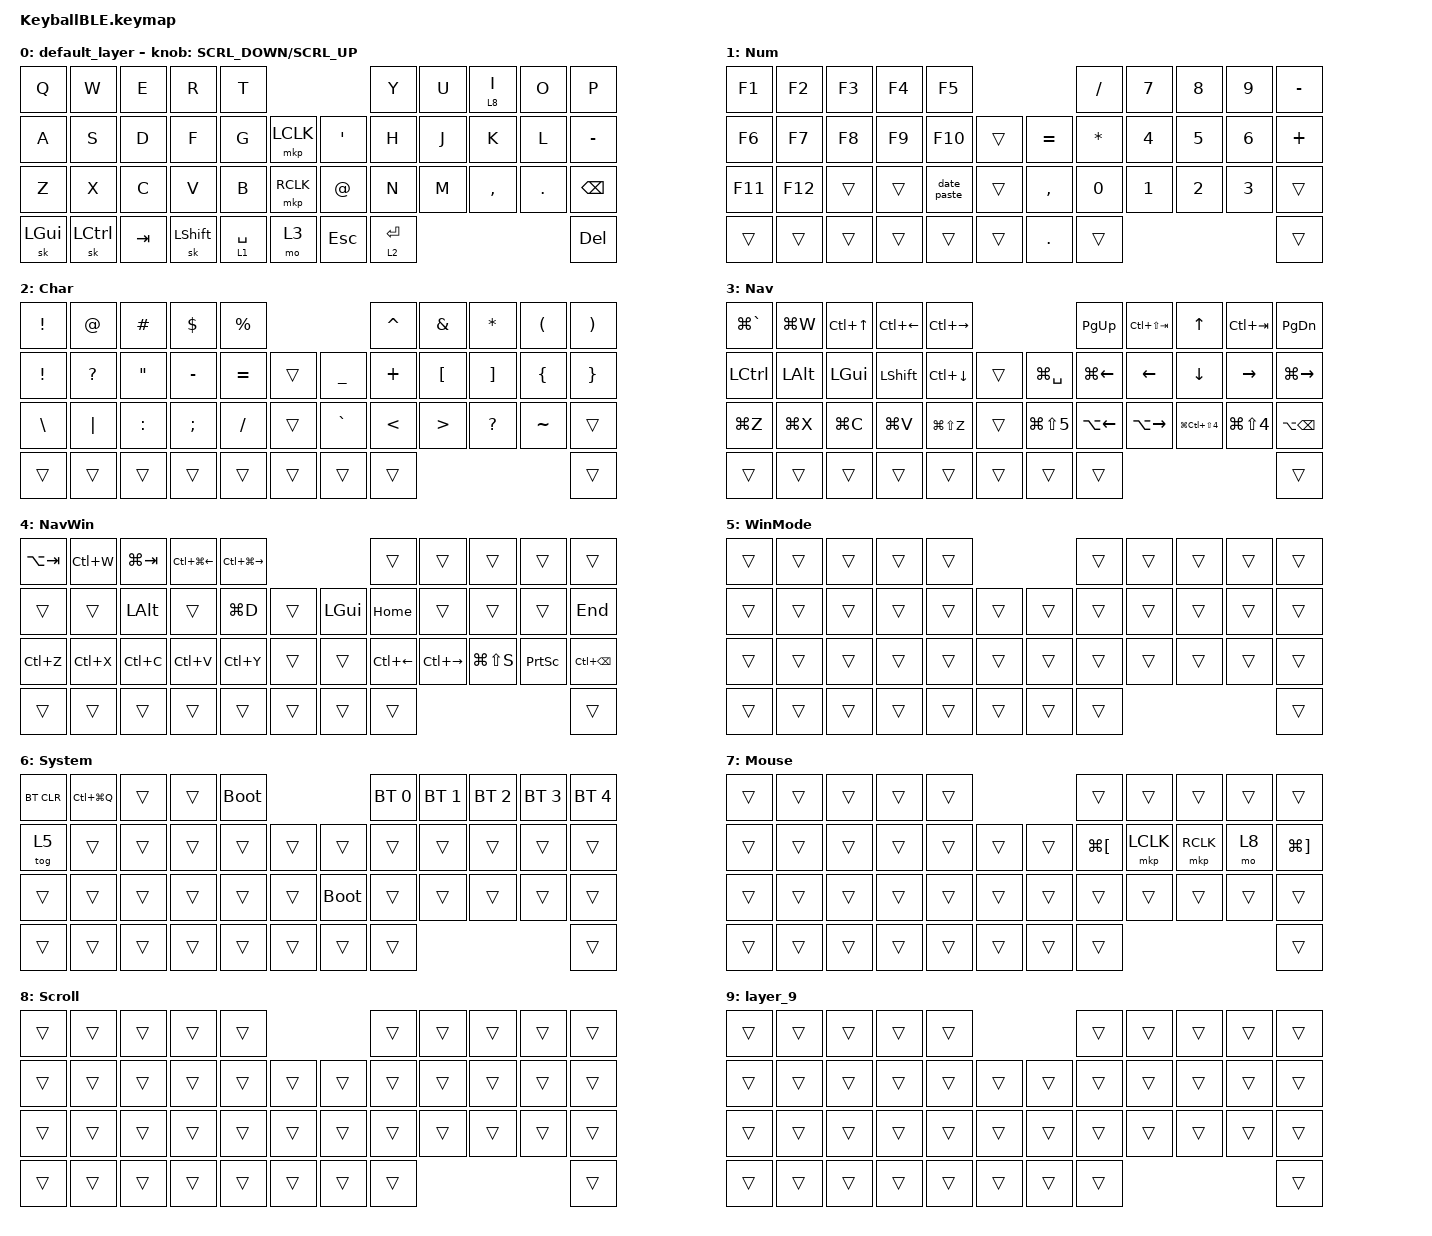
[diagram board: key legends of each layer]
// ホイールのスクロール量。購入元(Dist16384/KeyballBLE)の設定と同じ値（ZMK 標準は 10）。include より前に書く必要がある
#define ZMK_POINTING_DEFAULT_SCRL_VAL 120

#include <behaviors.dtsi>
#include <dt-bindings/zmk/bt.h>
#include <dt-bindings/zmk/keys.h>
#include <dt-bindings/zmk/pointing.h>

/ {
    // 左親指SPACE長押し(1) + 右親指ENTER長押し(2) を同時に押した時だけ 設定レイヤー(6) が出る

    conditional_layers {
        compatible = "zmk,conditional-layers";

        sys_layer {
            if-layers = <1 2>;
            then-layer = <6>;
        };

        // Windowsモード(5)がONの時だけ、Navレイヤーの一部をWindows用ショートカットに差し替える

        win_nav {
            if-layers = <3 5>;
            then-layer = <4>;
        };
    };

    behaviors {
        // 左手のホイール（エンコーダー）: 購入元(Dist16384/KeyballBLE, 2025-03-26)と同じ設定に戻した（2026-10）。
        // 速さを変える時は、ファイル先頭の ZMK_POINTING_DEFAULT_SCRL_VAL を変える
        ROTATE: ROTATE {
            compatible = "zmk,behavior-sensor-rotate-var";
            #sensor-binding-cells = <2>;
            bindings = <&msc>, <&msc>;
            tap-ms = <20>;
        };
    };

    macros {
        // 今日の日付: Mac の「ショートカット」アプリ(⌃⌥⌘F18 で起動)が日付をコピー → 待ってから ⌘V で貼り付け
        // 日付ではなく前にコピーした内容が貼られる時は、600 を大きくする

        date_paste: date_paste {
            compatible = "zmk,behavior-macro";
            #binding-cells = <0>;
            bindings =
                <&macro_wait_time 600>,
                <&kp LC(LA(LG(F18)))>,
                <&macro_wait_time 30>,
                <&kp LG(V)>;
        };
    };

    keymap {
        compatible = "zmk,keymap";

        default_layer {
            bindings = <
&kp Q     &kp W      &kp E    &kp R       &kp T                                  &kp Y        &kp U  &lt 8 I    &kp O    &kp P
&kp A     &kp S      &kp D    &kp F       &kp G        &mkp LCLK      &kp SQT    &kp H        &kp J  &kp K      &kp L    &kp MINUS
&kp Z     &kp X      &kp C    &kp V       &kp B        &mkp RCLK      &kp AT_SIGN &kp N        &kp M  &kp COMMA  &kp DOT  &kp BACKSPACE
&sk LGUI  &sk LCTRL  &kp TAB  &sk LSHIFT  &lt 1 SPACE  &mo 3          &kp ESC    &lt 2 ENTER                             &kp DEL
            >;

            // ホイールは全レイヤー共通でスクロール（他のレイヤーに sensor-bindings が無ければここが使われる）
            sensor-bindings = <&ROTATE SCRL_DOWN SCRL_UP>;
        };

        Num {
            bindings = <
&kp F1   &kp F2   &kp F3  &kp F4  &kp F5                              &kp SLASH  &kp N7  &kp N8  &kp N9  &kp MINUS
&kp F6   &kp F7   &kp F8  &kp F9  &kp F10      &trans      &kp EQUAL  &kp STAR   &kp N4  &kp N5  &kp N6  &kp PLUS
&kp F11  &kp F12  &trans  &trans  &date_paste  &trans      &kp COMMA  &kp N0     &kp N1  &kp N2  &kp N3  &trans
&trans   &trans   &trans  &trans  &trans       &trans      &kp DOT    &trans                             &trans
            >;
        };

        Char {
            bindings = <
&kp EXCL   &kp AT_SIGN  &kp HASH   &kp DOLLAR  &kp PERCENT                         &kp CARET  &kp AMPERSAND  &kp STAR   &kp LPAR  &kp RPAR
&kp EXCL   &kp QMARK    &kp DQT    &kp MINUS   &kp EQUAL    &trans      &kp UNDER  &kp PLUS   &kp LBKT       &kp RBKT   &kp LBRC  &kp RBRC
&kp BSLH   &kp PIPE     &kp COLON  &kp SEMI    &kp SLASH    &trans      &kp GRAVE  &kp LT     &kp GT         &kp QMARK  &kp TILDE    &trans
&trans     &trans       &trans     &trans      &trans       &trans      &trans     &trans                                         &trans
            >;
        };

        Nav {
            bindings = <
&kp LG(GRAVE)  &kp LG(W)  &kp LC(UP)  &kp LC(LEFT)  &kp LC(RIGHT)                              &kp PG_UP     &kp LC(LS(TAB))  &kp UP              &kp LC(TAB)     &kp PG_DN
&kp LCTRL      &kp LALT   &kp LGUI    &kp LSHIFT    &kp LC(DOWN)   &trans      &kp LG(SPACE)   &kp LG(LEFT)  &kp LEFT         &kp DOWN            &kp RIGHT       &kp LG(RIGHT)
&kp LG(Z)      &kp LG(X)  &kp LG(C)   &kp LG(V)     &kp LG(LS(Z))  &trans      &kp LG(LS(N5))  &kp LA(LEFT)  &kp LA(RIGHT)    &kp LG(LC(LS(N4)))  &kp LG(LS(N4))  &kp LA(BSPC)
&trans         &trans     &trans      &trans        &trans         &trans      &trans          &trans                                                             &trans
            >;
        };

        NavWin {
            bindings = <
&kp LA(TAB)  &kp LC(W)  &kp LG(TAB)  &kp LC(LG(LEFT))  &kp LC(LG(RIGHT))                        &trans        &trans         &trans         &trans     &trans
&trans       &trans     &kp LALT     &trans            &kp LG(D)          &trans      &kp LGUI  &kp HOME      &trans         &trans         &trans     &kp END
&kp LC(Z)    &kp LC(X)  &kp LC(C)    &kp LC(V)         &kp LC(Y)          &trans      &trans    &kp LC(LEFT)  &kp LC(RIGHT)  &kp LG(LS(S))  &kp PSCRN  &kp LC(BSPC)
&trans       &trans     &trans       &trans            &trans             &trans      &trans    &trans                                                 &trans
            >;
        };

        WinMode {
            bindings = <
&trans  &trans  &trans  &trans  &trans                      &trans  &trans  &trans  &trans  &trans
&trans  &trans  &trans  &trans  &trans  &trans      &trans  &trans  &trans  &trans  &trans  &trans
&trans  &trans  &trans  &trans  &trans  &trans      &trans  &trans  &trans  &trans  &trans  &trans
&trans  &trans  &trans  &trans  &trans  &trans      &trans  &trans                          &trans
            >;
        };

        System {
            bindings = <
&bt BT_CLR  &kp LC(LG(Q))  &trans  &trans  &bootloader                           &bt BT_SEL 0  &bt BT_SEL 1  &bt BT_SEL 2  &bt BT_SEL 3  &bt BT_SEL 4
&tog 5      &trans         &trans  &trans  &trans       &trans      &trans       &trans        &trans        &trans        &trans        &trans
&trans      &trans         &trans  &trans  &trans       &trans      &bootloader  &trans        &trans        &trans        &trans        &trans
&trans      &trans         &trans  &trans  &trans       &trans      &trans       &trans                                                  &trans
            >;
        };

        // トラックボールを動かすと出る自動マウスレイヤー（KeyballBLE_R.overlay の automouse-layer、止めて0.7秒で戻る）

        Mouse {
            // 右手: H=戻る(⌘[)  J=左クリック  K=右クリック  L=押している間スクロール  小指=進む(⌘])
            bindings = <
&trans  &trans  &trans  &trans  &trans                      &trans         &trans     &trans     &trans  &trans
&trans  &trans  &trans  &trans  &trans  &trans      &trans  &kp LG(LBKT)   &mkp LCLK  &mkp RCLK  &mo 8   &kp LG(RBKT)
&trans  &trans  &trans  &trans  &trans  &trans      &trans  &trans         &trans     &trans     &trans  &trans
&trans  &trans  &trans  &trans  &trans  &trans      &trans  &trans                                       &trans
            >;
        };

        // I 長押しで有効 → トラックボールがスクロールになる（KeyballBLE_R.overlay の scroll-layers）

        Scroll {
            bindings = <
&trans  &trans  &trans  &trans  &trans                      &trans  &trans  &trans  &trans  &trans
&trans  &trans  &trans  &trans  &trans  &trans      &trans  &trans  &trans  &trans  &trans  &trans
&trans  &trans  &trans  &trans  &trans  &trans      &trans  &trans  &trans  &trans  &trans  &trans
&trans  &trans  &trans  &trans  &trans  &trans      &trans  &trans                          &trans
            >;
        };

        layer_9 {
            bindings = <
&trans  &trans  &trans  &trans  &trans                      &trans  &trans  &trans  &trans  &trans
&trans  &trans  &trans  &trans  &trans  &trans      &trans  &trans  &trans  &trans  &trans  &trans
&trans  &trans  &trans  &trans  &trans  &trans      &trans  &trans  &trans  &trans  &trans  &trans
&trans  &trans  &trans  &trans  &trans  &trans      &trans  &trans                          &trans
            >;
        };
    };
};
